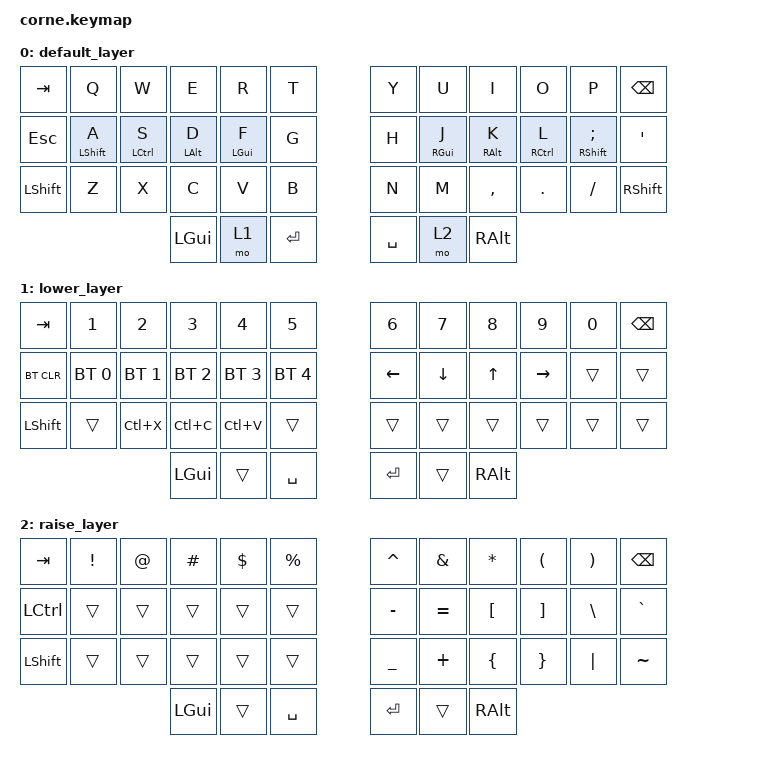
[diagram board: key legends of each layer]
/*
 * Copyright (c) 2020 The ZMK Contributors
 *
 * SPDX-License-Identifier: MIT
 */

#include <behaviors.dtsi>
#include <dt-bindings/zmk/bt.h>
#include <dt-bindings/zmk/keys.h>

/ {
    combos {
        compatible = "zmk,combos";

        Tab {
            bindings = <&kp TAB>;
            key-positions = <1 1 2>;
            layers = <0>;
        };

        Backspace {
            bindings = <&kp BACKSPACE>;
            key-positions = <9 10>;
        };

        Enter {
            bindings = <&kp RETURN>;
            key-positions = <22 23>;
        };
    };

    behaviors {
        hml: homewrow_mods_left {
            compatible = "zmk,behavior-hold-tap";
            label = "HOMEROW_MODS_LEFT";
            bindings = <&kp>, <&kp>;

            #binding-cells = <2>;
            tapping-term-ms = <200>;
            hold-trigger-key-positions = <6 18 30 6 7 8 9 10 11 18 19 20 21 22 23 30 31 32 33 34 35 39 40 41>;
        };

        hmr: homerow_mods_right {
            compatible = "zmk,behavior-hold-tap";
            label = "HOMEROW_MODS_RIGHT";
            bindings = <&kp>, <&kp>;

            #binding-cells = <2>;
            tapping-term-ms = <200>;
            hold-trigger-key-positions = <0 1 2 3 4 5 12 13 14 15 16 17 24 25 26 27 28 29 36 37 38>;
        };
    };

    keymap {
        compatible = "zmk,keymap";

        default_layer {
            // -----------------------------------------------------------------------------------------
            // |  TAB |  Q  |  W  |  E  |  R  |  T  |   |  Y  |  U   |  I  |  O  |  P  | BSPC |
            // | CTRL |  A  |  S  |  D  |  F  |  G  |   |  H  |  J   |  K  |  L  |  ;  |  '   |
            // | SHFT |  Z  |  X  |  C  |  V  |  B  |   |  N  |  M   |  ,  |  .  |  /  | ESC  |
            //                    | GUI | LWR | SPC |   | ENT | RSE  | ALT |

            bindings = <
&kp TAB    &kp Q              &kp W         &kp E            &kp R            &kp T        &kp Y      &kp U             &kp I             &kp O         &kp P                  &kp BSPC
&kp ESC    &hml LEFT_SHIFT A  &hml LCTRL S  &hml LEFT_ALT D  &hml LEFT_GUI F  &kp G        &kp H      &hmr RIGHT_GUI J  &hmr RIGHT_ALT K  &hmr RCTRL L  &hmr RIGHT_SHIFT SEMI  &kp SQT
&kp LSHFT  &kp Z              &kp X         &kp C            &kp V            &kp B        &kp N      &kp M             &kp COMMA         &kp DOT       &kp FSLH               &kp RIGHT_SHIFT
                                            &kp LGUI         &mo 1            &kp ENTER    &kp SPACE  &mo 2             &kp RALT
            >;
        };

        lower_layer {
            // -----------------------------------------------------------------------------------------
            // |  TAB |  1  |  2  |  3  |  4  |  5  |   |  6  |  7  |  8  |  9  |  0  | BSPC |
            // | BTCLR| BT1 | BT2 | BT3 | BT4 | BT5 |   | LFT | DWN |  UP | RGT |     |      |
            // | SHFT |     |     |     |     |     |   |     |     |     |     |     |      |
            //                    | GUI |     | SPC |   | ENT |     | ALT |

            bindings = <
&kp TAB     &kp N1        &kp N2        &kp N3        &kp N4        &kp N5          &kp N6    &kp N7    &kp N8    &kp N9     &kp N0  &kp BSPC
&bt BT_CLR  &bt BT_SEL 0  &bt BT_SEL 1  &bt BT_SEL 2  &bt BT_SEL 3  &bt BT_SEL 4    &kp LEFT  &kp DOWN  &kp UP    &kp RIGHT  &trans  &trans
&kp LSHFT   &trans        &kp LC(X)     &kp LC(C)     &kp LC(V)     &trans          &trans    &trans    &trans    &trans     &trans  &trans
                                        &kp LGUI      &trans        &kp SPACE       &kp RET   &trans    &kp RALT
            >;
        };

        raise_layer {
            // -----------------------------------------------------------------------------------------
            // |  TAB |  !  |  @  |  #  |  $  |  %  |   |  ^  |  &  |  *  |  (  |  )  | BSPC |
            // | CTRL |     |     |     |     |     |   |  -  |  =  |  [  |  ]  |  \  |  `   |
            // | SHFT |     |     |     |     |     |   |  _  |  +  |  {  |  }  | "|" |  ~   |
            //                    | GUI |     | SPC |   | ENT |     | ALT |

            bindings = <
&kp TAB    &kp EXCL  &kp AT  &kp HASH  &kp DLLR  &kp PRCNT    &kp CARET  &kp AMPS   &kp ASTRK  &kp LPAR  &kp RPAR  &kp BSPC
&kp LCTRL  &trans    &trans  &trans    &trans    &trans       &kp MINUS  &kp EQUAL  &kp LBKT   &kp RBKT  &kp BSLH  &kp GRAVE
&kp LSHFT  &trans    &trans  &trans    &trans    &trans       &kp UNDER  &kp PLUS   &kp LBRC   &kp RBRC  &kp PIPE  &kp TILDE
                             &kp LGUI  &trans    &kp SPACE    &kp RET    &trans     &kp RALT
            >;
        };
    };
};
